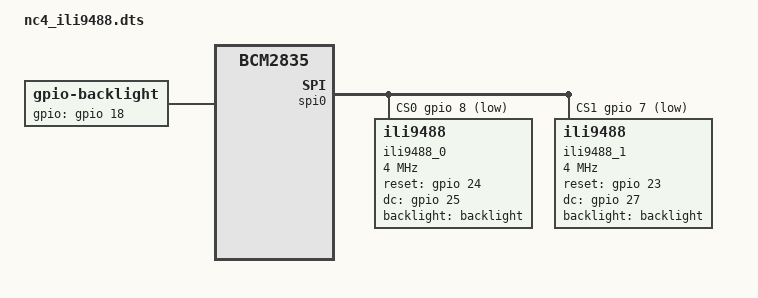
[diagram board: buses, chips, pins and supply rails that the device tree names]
/********************************************************************************
 * nc4_ili9488.dts (Revised)
 *
 * Two or three ILI9488 panels on SPI0 with correct pin muxing and spidev disabled.
 *
 * Usage:
 *   1) Copy/modify this file to /boot/firmware/overlays/ (on Debian Bookworm).
 *   2) Compile with: dtc -@ -I dts -O dtb -o nc4_ili9488.dtbo nc4_ili9488.dts
 *   3) In /boot/firmware/config.txt, add:  dtoverlay=nc4_ili9488
 ********************************************************************************/
 /dts-v1/;
/plugin/;

/ {
	compatible = "brcm,bcm2835";

	/***********************************************************************
	 * fragment@0: Pin Muxing for SPI0
	 *   - GPIO9,10,11 = MISO, MOSI, SCLK (alt0 → function=4)
	 *   - GPIO8,7,6 = CE0, CE1, CE2 (alt0 → function=4)
	 ***********************************************************************/
	fragment@0 {
		target = <&gpio>;
		__overlay__ {
			spi0_pins: spi0_pins {
				brcm,pins = <9 10 11>;
				brcm,function = <4 4 4>; /* ALT0 for MISO, MOSI, SCLK */
			};

			spi0_cs_pins: spi0_cs_pins {
				brcm,pins = <8 7 6>;
				brcm,function = <4 4 4>; /* ALT0 for CE0, CE1, CE2 */
			};
		};
	};

	/***********************************************************************
	 * fragment@1: Disable default spidev child nodes on SPI0
	 *   (so that our custom ILI9488 nodes can fully own the bus)
	 ***********************************************************************/
	fragment@1 {
		target = <&spidev0>;
		__overlay__ {
			status = "disabled";
		};
	};

	fragment@2 {
		target = <&spidev1>;
		__overlay__ {
			status = "disabled";
		};
	};

	/***********************************************************************
	 * fragment@3: Define & enable SPI0 with new pinctrl, cs-gpios, and up
	 *             to three child devices (ili9488@0, ili9488@1, ili9488@2).
	 ***********************************************************************/
	fragment@3 {
		target = <&spi0>;
		__overlay__ {
			#address-cells = <1>;
			#size-cells = <0>;

			pinctrl-names = "default";
			pinctrl-0 = <&spi0_pins &spi0_cs_pins>;
			cs-gpios = <&gpio 8 1>, <&gpio 7 1>, <&gpio 6 1>;
			status = "okay";

			/* First display on CE0 */
			ili9488_0: ili9488_0@0 {
				compatible = "ili9488";
				reg = <0>; /* CE0 */
				spi-max-frequency = <4000000>;
				rotation = <0>;

				reset-gpios = <&gpio 24 0>;
				dc-gpios = <&gpio 25 0>;
				backlight = <&backlight>;
				status = "okay";
			};

			/* Second display on CE1 */
			ili9488_1: ili9488_1@1 {
				compatible = "ili9488";
				reg = <1>; /* CE1 */
				spi-max-frequency = <4000000>;
				rotation = <0>;

				reset-gpios = <&gpio 23 0>;
				dc-gpios = <&gpio 27 0>;
				backlight = <&backlight>;
				status = "okay";
			};

			/* Third display on CE2 (optional) */
			ili9488_2: ili9488_2@2 {
				compatible = "ili9488";
				reg = <2>; /* CE2 */
				spi-max-frequency = <4000000>;
				rotation = <0>;

				/* Adjust these pins if you have a third display physically connected. */
				reset-gpios = <&gpio 22 0>;
				dc-gpios = <&gpio 5 0>;
				backlight = <&backlight>;
				status = "disabled";  /* change to "okay" if you truly have a 3rd LCD */
			};
		};
	};

	/***********************************************************************
	 * fragment@4: Shared backlight node
	 ***********************************************************************/
	fragment@4 {
		target-path = "/soc";
		__overlay__ {
			backlight: backlight {
				compatible = "gpio-backlight";
				gpios = <&gpio 18 0>;
				default-state = "on";
			};
		};
	};

	/***********************************************************************
	 * Overridable parameters
	 ***********************************************************************/
	__overrides__ {
		speed =       <&ili9488_0>,"spi-max-frequency:0",
					  <&ili9488_1>,"spi-max-frequency:0",
					  <&ili9488_2>,"spi-max-frequency:0";

		rotation =    <&ili9488_0>,"rotation:0",
					  <&ili9488_1>,"rotation:0",
					  <&ili9488_2>,"rotation:0";

		enable3rd =   <&ili9488_2>,"status";
	};
};
